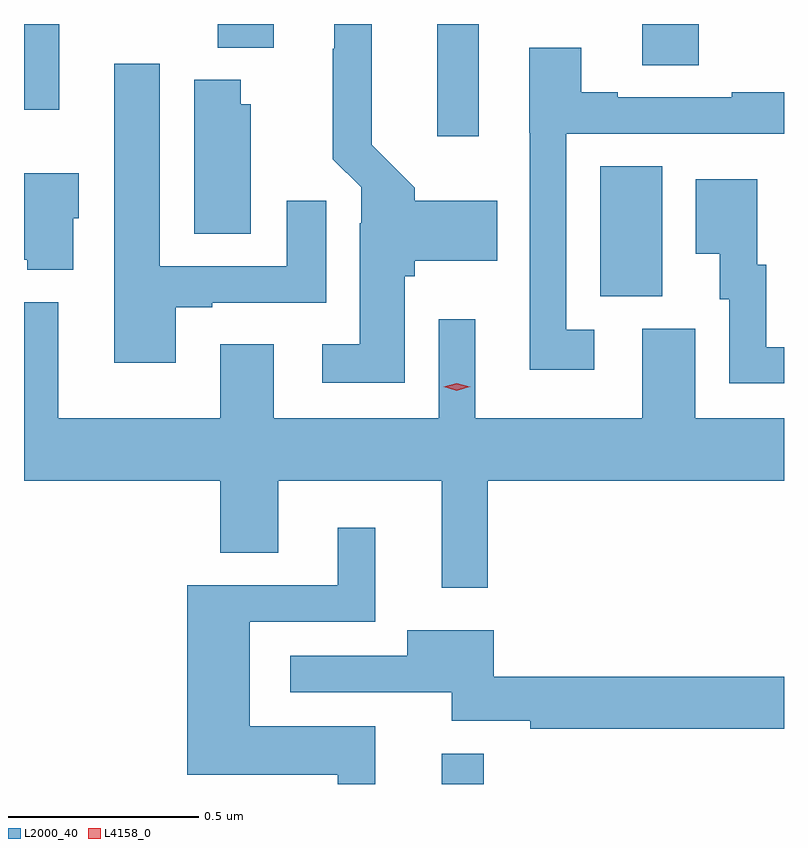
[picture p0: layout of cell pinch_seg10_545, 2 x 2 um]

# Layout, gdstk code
import gdstk
lib = gdstk.Library(unit=1e-6, precision=1e-09)
def R(c, l, rs):  # rectangles x0, y0, x1, y1
    for r in rs: c.add(gdstk.rectangle(r[:2], r[2:], *l))
def P(c, l, *ps):  # polygons
    for p in ps: c.add(gdstk.Polygon(p, *l))
L2000_40 = (2000, 40)
L4158_0 = (4158, 0)

pinch_seg10_545 = lib.new_cell('pinch_seg10_545')
R(pinch_seg10_545, L2000_40, [(246.599,1252.898,246.71,1252.978), (247.016,1254.181,247.18,1254.524), (246.587,1254.603,246.697,1254.898), (245.5,1254.672,245.593,1254.898), (247.127,1254.79,247.275,1254.898), (246.01,1254.836,246.157,1254.898)])
P(pinch_seg10_545, L2000_40, [(246.502,1254.234),(246.528,1254.234),(246.528,1254.275),(246.745,1254.275),(246.745,1254.433),(246.528,1254.433),(246.528,1254.467),(246.415,1254.58),(246.415,1254.898),(246.317,1254.898),(246.317,1254.833),(246.313,1254.833),(246.313,1254.542),(246.387,1254.468),(246.387,1254.374),(246.383,1254.374),(246.383,1254.055),(246.285,1254.055),(246.285,1253.954),(246.502,1253.954)],
  [(247,1254.093),(246.927,1254.093),(246.927,1254.609),(247.5,1254.609),(247.5,1254.718),(247.363,1254.718),(247.363,1254.705),(247.063,1254.705),(247.063,1254.718),(246.967,1254.718),(246.967,1254.835),(246.83,1254.835),(246.83,1254.612),(246.831,1254.612),(246.831,1253.988),(247,1253.988)],
  [(245.899,1254.153),(245.995,1254.153),(245.995,1254.165),(246.295,1254.165),(246.295,1254.433),(246.191,1254.433),(246.191,1254.261),(245.857,1254.261),(245.857,1254.793),(245.738,1254.793),(245.738,1254.006),(245.899,1254.006)],
  [(246.097,1254.687),(246.07,1254.687),(246.07,1254.751),(245.948,1254.751),(245.948,1254.346),(246.097,1254.346)],
  [(245.629,1254.387),(245.644,1254.387),(245.644,1254.505),(245.5,1254.505),(245.5,1254.278),(245.508,1254.278),(245.508,1254.251),(245.629,1254.251)],
  [(247.5,1254.048),(247.453,1254.048),(247.453,1254.264),(247.429,1254.264),(247.429,1254.49),(247.268,1254.49),(247.268,1254.293),(247.331,1254.293),(247.331,1254.174),(247.356,1254.174),(247.356,1253.952),(247.5,1253.952)],
  [(246.721,1253.696),(247.5,1253.696),(247.5,1253.86),(247.267,1253.86),(247.267,1254.096),(247.127,1254.096),(247.127,1253.86),(246.688,1253.86),(246.688,1254.121),(246.591,1254.121),(246.591,1253.86),(246.157,1253.86),(246.157,1254.055),(246.017,1254.055),(246.017,1253.86),(245.59,1253.86),(245.59,1254.166),(245.5,1254.166),(245.5,1253.696),(246.017,1253.696),(246.017,1253.506),(246.169,1253.506),(246.169,1253.696),(246.599,1253.696),(246.599,1253.415),(246.721,1253.415)],
  [(246.424,1253.05),(246.094,1253.05),(246.094,1253.325),(246.424,1253.325),(246.424,1253.572),(246.326,1253.572),(246.326,1253.421),(245.93,1253.421),(245.93,1252.922),(246.326,1252.922),(246.326,1252.898),(246.424,1252.898)],
  [(247.5,1253.18),(246.736,1253.18),(246.736,1253.302),(246.509,1253.302),(246.509,1253.235),(246.201,1253.235),(246.201,1253.139),(246.626,1253.139),(246.626,1253.064),(246.832,1253.064),(246.832,1253.044),(247.5,1253.044)])
P(pinch_seg10_545, L4158_0, [(246.639,1253.933),(246.604,1253.943),(246.604,1253.943),(246.604,1253.943),(246.639,1253.953),(246.673,1253.943),(246.674,1253.943),(246.673,1253.943)])

lib.write_gds('pinch_seg10_545.gds')
